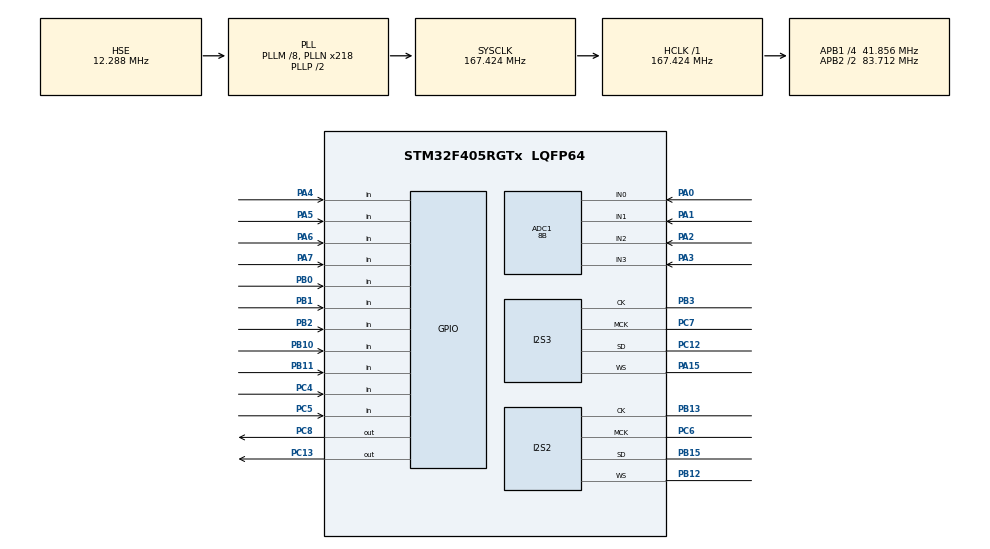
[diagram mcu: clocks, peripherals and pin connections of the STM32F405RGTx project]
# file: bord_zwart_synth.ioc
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ADC1.Channel-0\#ChannelRegularConversion=ADC_CHANNEL_0
ADC1.Channel-1\#ChannelRegularConversion=ADC_CHANNEL_1
ADC1.Channel-2\#ChannelRegularConversion=ADC_CHANNEL_2
ADC1.Channel-3\#ChannelRegularConversion=ADC_CHANNEL_3
ADC1.ContinuousConvMode=ENABLE
ADC1.DMAContinuousRequests=ENABLE
ADC1.EOCSelection=ADC_EOC_SINGLE_CONV
ADC1.NbrOfConversion=4
ADC1.NbrOfConversionFlag=1
ADC1.Rank-0\#ChannelRegularConversion=1
ADC1.Rank-1\#ChannelRegularConversion=2
ADC1.Rank-2\#ChannelRegularConversion=3
ADC1.Rank-3\#ChannelRegularConversion=4
ADC1.Resolution=ADC_RESOLUTION_8B
ADC1.SamplingTime-0\#ChannelRegularConversion=ADC_SAMPLETIME_28CYCLES
ADC1.SamplingTime-1\#ChannelRegularConversion=ADC_SAMPLETIME_28CYCLES
ADC1.SamplingTime-2\#ChannelRegularConversion=ADC_SAMPLETIME_28CYCLES
ADC1.SamplingTime-3\#ChannelRegularConversion=ADC_SAMPLETIME_28CYCLES
ADC1.master=1
Dma.ADC1.1.Direction=DMA_PERIPH_TO_MEMORY
Dma.ADC1.1.FIFOMode=DMA_FIFOMODE_DISABLE
Dma.ADC1.1.Instance=DMA2_Stream0
Dma.ADC1.1.MemDataAlignment=DMA_MDATAALIGN_WORD
Dma.ADC1.1.MemInc=DMA_MINC_ENABLE
Dma.ADC1.1.Mode=DMA_CIRCULAR
Dma.ADC1.1.PeriphDataAlignment=DMA_PDATAALIGN_WORD
Dma.ADC1.1.PeriphInc=DMA_PINC_DISABLE
Dma.ADC1.1.Priority=DMA_PRIORITY_LOW
Dma.Request0=SPI3_TX
Dma.Request1=ADC1
Dma.Request2=SPI2_RX
Dma.SPI2_RX.2.Direction=DMA_PERIPH_TO_MEMORY
Dma.SPI2_RX.2.FIFOMode=DMA_FIFOMODE_DISABLE
Dma.SPI2_RX.2.Instance=DMA1_Stream3
Dma.SPI2_RX.2.MemDataAlignment=DMA_MDATAALIGN_HALFWORD
Dma.SPI2_RX.2.MemInc=DMA_MINC_ENABLE
Dma.SPI2_RX.2.Mode=DMA_CIRCULAR
Dma.SPI2_RX.2.PeriphDataAlignment=DMA_PDATAALIGN_HALFWORD
Dma.SPI2_RX.2.PeriphInc=DMA_PINC_DISABLE
Dma.SPI2_RX.2.Priority=DMA_PRIORITY_VERY_HIGH
Dma.SPI3_TX.0.Direction=DMA_MEMORY_TO_PERIPH
Dma.SPI3_TX.0.FIFOMode=DMA_FIFOMODE_DISABLE
Dma.SPI3_TX.0.Instance=DMA1_Stream5
Dma.SPI3_TX.0.MemDataAlignment=DMA_MDATAALIGN_HALFWORD
Dma.SPI3_TX.0.MemInc=DMA_MINC_ENABLE
Dma.SPI3_TX.0.Mode=DMA_CIRCULAR
Dma.SPI3_TX.0.PeriphDataAlignment=DMA_PDATAALIGN_HALFWORD
Dma.SPI3_TX.0.PeriphInc=DMA_PINC_DISABLE
Dma.SPI3_TX.0.Priority=DMA_PRIORITY_VERY_HIGH
I2S2.AudioFreq=I2S_AUDIOFREQ_48K
I2S2.ErrorAudioFreq=0.0 %
I2S2.FullDuplexMode=I2S_FULLDUPLEXMODE_DISABLE
I2S2.Instance=SPI$Index
I2S2.Mode=I2S_MODE_MASTER_RX
I2S2.RealAudioFreq=48.0 KHz
I2S2.VirtualMode=I2S_MODE_MASTER
I2S3.AudioFreq=I2S_AUDIOFREQ_48K
I2S3.ErrorAudioFreq=0.0 %
I2S3.FullDuplexMode=I2S_FULLDUPLEXMODE_DISABLE
I2S3.Instance=SPI$Index
I2S3.RealAudioFreq=48.0 KHz
I2S3.VirtualMode=I2S_MODE_MASTER
Mcu.Family=STM32F4
Mcu.Name=STM32F405RGTx
Mcu.Package=LQFP64
NVIC.ADC_IRQn=true\:0\:0\:false\:false\:true\:true\:true
NVIC.DMA1_Stream3_IRQn=true\:0\:0\:false\:false\:true\:false\:true
NVIC.DMA1_Stream5_IRQn=true\:0\:0\:false\:false\:true\:false\:true
NVIC.DMA2_Stream0_IRQn=true\:0\:0\:false\:false\:true\:false\:true
NVIC.PriorityGroup=NVIC_PRIORITYGROUP_4
PA0-WKUP.Signal=ADCx_IN0
PA1.Signal=ADCx_IN1
PA13.Mode=Serial_Wire
PA13.Signal=SYS_JTMS-SWDIO
PA14.Mode=Serial_Wire
PA14.Signal=SYS_JTCK-SWCLK
PA15.Mode=Half_Duplex_Master
PA15.Signal=I2S3_WS
PA2.Signal=ADCx_IN2
PA3.Signal=ADCx_IN3
PA4.Signal=GPIO_Input
PA5.Signal=GPIO_Input
PA6.GPIO_PuPd=GPIO_PULLUP
PA6.Signal=GPIO_Input
PA7.GPIO_PuPd=GPIO_PULLUP
PA7.Signal=GPIO_Input
PB0.GPIO_PuPd=GPIO_PULLUP
PB0.Signal=GPIO_Input
PB1.GPIO_PuPd=GPIO_PULLUP
PB1.Signal=GPIO_Input
PB10.GPIO_PuPd=GPIO_PULLUP
PB10.Signal=GPIO_Input
PB11.Signal=GPIO_Input
PB12.Mode=Half_Duplex_Master
PB12.Signal=I2S2_WS
PB13.Mode=Half_Duplex_Master
PB13.Signal=I2S2_CK
PB15.Mode=Half_Duplex_Master
PB15.Signal=I2S2_SD
PB2.GPIO_PuPd=GPIO_PULLUP
PB2.Signal=GPIO_Input
PB3.Mode=Half_Duplex_Master
PB3.Signal=I2S3_CK
PC12.Mode=Half_Duplex_Master
PC12.Signal=I2S3_SD
PC13-ANTI_TAMP.Signal=GPIO_Output
PC4.GPIO_PuPd=GPIO_PULLUP
PC4.Signal=GPIO_Input
PC5.GPIO_PuPd=GPIO_PULLUP
PC5.Signal=GPIO_Input
PC6.Mode=Master_Clock_Activated
PC6.Signal=I2S2_MCK
PC7.Mode=Master_Clock_Activated
PC7.Signal=I2S3_MCK
PC8.Signal=GPIO_Output
PH0-OSC_IN.Mode=HSE-External-Oscillator
PH0-OSC_IN.Signal=RCC_OSC_IN
PH1-OSC_OUT.Mode=HSE-External-Oscillator
PH1-OSC_OUT.Signal=RCC_OSC_OUT
ProjectManager.HeapSize=0x200
ProjectManager.StackSize=0x400
ProjectManager.TargetToolchain=STM32CubeIDE
RCC.48MHZClocksFreq_Value=83712000
RCC.AHBFreq_Value=167424000
RCC.APB1CLKDivider=RCC_HCLK_DIV4
RCC.APB1Freq_Value=41856000
RCC.APB1TimFreq_Value=83712000
RCC.APB2CLKDivider=RCC_HCLK_DIV2
RCC.APB2Freq_Value=83712000
RCC.APB2TimFreq_Value=167424000
RCC.CortexFreq_Value=167424000
RCC.HCLKFreq_Value=167424000
RCC.HSE_VALUE=12288000
RCC.HSI_VALUE=16000000
RCC.LSE_VALUE=32768
RCC.PLLI2SN=128
RCC.PLLM=8
RCC.PLLN=218
RCC.PLLSourceVirtual=RCC_PLLSOURCE_HSE
RCC.SYSCLKFreq_VALUE=167424000
RCC.SYSCLKSource=RCC_SYSCLKSOURCE_PLLCLK
RCC.VCOOutputFreq_Value=334848000
SH.ADCx_IN0.0=ADC1_IN0,IN0
SH.ADCx_IN1.0=ADC1_IN1,IN1
SH.ADCx_IN2.0=ADC1_IN2,IN2
SH.ADCx_IN3.0=ADC1_IN3,IN3
board=custom

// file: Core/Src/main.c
/* USER CODE BEGIN Header */
/**
  ******************************************************************************
  * @file           : main.c
  * @brief          : Main program body
  ******************************************************************************
  * @attention
  *
  * <h2><center>&copy; Copyright (c) 2021 STMicroelectronics.
  * All rights reserved.</center></h2>
  *
  * This software component is licensed by ST under BSD 3-Clause license,
  * the "License"; You may not use this file except in compliance with the
  * License. You may obtain a copy of the License at:
  *                        opensource.org/licenses/BSD-3-Clause
  *
  ******************************************************************************
  */
/* USER CODE END Header */
#include "main.h"

/* USER CODE BEGIN Includes */
#include "arm_math.h"
#include "sample.h"
/* USER CODE END Includes */

/* USER CODE BEGIN PTD */
#define n 16
#define samples 11
/* USER CODE END PTD */

ADC_HandleTypeDef hadc1;
DMA_HandleTypeDef hdma_adc1;

I2S_HandleTypeDef hi2s2;
I2S_HandleTypeDef hi2s3;
DMA_HandleTypeDef hdma_spi2_rx;
DMA_HandleTypeDef hdma_spi3_tx;

/* USER CODE BEGIN PV */
float sampleout[samples][n];
float rekensample[samples/2][n];
float M_out_f32[6][n];
int input = 0;
int change = 0;
int beat_counter = 0;
int numbersofint = 0;
int sample_change_count[samples][8] = {0};
int sample_select = 0;
int samplecounter[samples] = {0};
float volume_samples[samples] = {1};
uint16_t audio_in[4*n];
uint16_t audio_out[4*n];
uint32_t adc_data[4];
uint8_t pot[4];
q15_t audio_r_in[n];
q15_t audio_l_in[n];
q15_t audio_r_out[n];
q15_t audio_l_out[n];
q15_t M_in[n];
q15_t M_out[n];
float* samplearray[samples] = {
		kick_808,
		CH_808,
		snare_808,
		tom_808,
		kick_909,
		CH_909,
		OH_909,
		clap_909,
		tom_909,
		snare_909,
		clav_909
};
float samplelength[samples] = {
		80021,4101,10108,21576,11534,4579,20899,15130,24438,10426,2209
};
/* USER CODE END PV */

void SystemClock_Config(void);
static void MX_GPIO_Init(void);
static void MX_DMA_Init(void);
static void MX_ADC1_Init(void);
static void MX_I2S2_Init(void);
static void MX_I2S3_Init(void);

int main(void)
{

  /* MCU Configuration--------------------------------------------------------*/

  /* Reset of all peripherals, Initializes the Flash interface and the Systick. */
  HAL_Init();

  /* Configure the system clock */
  SystemClock_Config();

  /* Initialize all configured peripherals */
  MX_GPIO_Init();
  MX_DMA_Init();
  MX_ADC1_Init();
  MX_I2S2_Init();
  MX_I2S3_Init();
  /* USER CODE BEGIN 2 */
  HAL_GPIO_WritePin(GPIOC, GPIO_PIN_8, GPIO_PIN_SET);
  HAL_GPIO_TogglePin(GPIOA, GPIO_PIN_6);
  HAL_ADC_Start(&hadc1);
  HAL_ADC_Start_DMA(&hadc1, adc_data, 4);
  HAL_I2S_Receive_DMA(&hi2s2, audio_in, 4*n);
  HAL_I2S_Transmit_DMA(&hi2s3, audio_out, 4*n);
  /* USER CODE END 2 */

  /* Infinite loop */
  while (1)
  {

    /* USER CODE BEGIN 3 */
	  input = HAL_GPIO_ReadPin(GPIOB, GPIO_PIN_2);
	 	  if (input != change) {
	 		 HAL_GPIO_TogglePin(GPIOC, GPIO_PIN_13);
	 		  change = input;
	 		  for (int j = 0; j < samples; ++j) {
	 		  for (int i = 0; i < 8; ++i) {
				sample_change_count[j][i] = 0;
	 		  }
	 		 }
	 	  }
	sample_select = pot[3]/24;
	if (HAL_GPIO_ReadPin(GPIOC, GPIO_PIN_4) == 1) {
		sample_change_count[sample_select][0] = 1 - sample_change_count[sample_select][0];
		HAL_Delay(250);
	}
	if (HAL_GPIO_ReadPin(GPIOB, GPIO_PIN_0) == 1) {
		sample_change_count[sample_select][1] = 1 - sample_change_count[sample_select][0];
		HAL_Delay(250);
	}
	if (HAL_GPIO_ReadPin(GPIOA, GPIO_PIN_7) == 1) {
		sample_change_count[sample_select][2] = 1 - sample_change_count[sample_select][0];
		HAL_Delay(250);
	}
	if (HAL_GPIO_ReadPin(GPIOA, GPIO_PIN_4) == 1) {
		sample_change_count[sample_select][3] = 1 - sample_change_count[sample_select][0];
		HAL_Delay(250);
	}
	if (HAL_GPIO_ReadPin(GPIOA, GPIO_PIN_5) == 1) {
		sample_change_count[sample_select][4] = 1 - sample_change_count[sample_select][0];
		HAL_Delay(250);
	}
	if (HAL_GPIO_ReadPin(GPIOC, GPIO_PIN_5) == 1) {
		sample_change_count[sample_select][5] = 1 - sample_change_count[sample_select][0];
		HAL_Delay(250);
	}
	if (HAL_GPIO_ReadPin(GPIOB, GPIO_PIN_1) == 1) {
		sample_change_count[sample_select][6] = 1 - sample_change_count[sample_select][0];
		HAL_Delay(250);
	}
	if (HAL_GPIO_ReadPin(GPIOA, GPIO_PIN_6) == 1) {
		sample_change_count[sample_select][7] = 1 - sample_change_count[sample_select][0];
		HAL_Delay(250);
	}
	 HAL_Delay(10);
  }
  /* USER CODE END 3 */
}

void SystemClock_Config(void)
{
  RCC_OscInitTypeDef RCC_OscInitStruct = {0};
  RCC_ClkInitTypeDef RCC_ClkInitStruct = {0};
  RCC_PeriphCLKInitTypeDef PeriphClkInitStruct = {0};

  /** Configure the main internal regulator output voltage
  */
  __HAL_RCC_PWR_CLK_ENABLE();
  __HAL_PWR_VOLTAGESCALING_CONFIG(PWR_REGULATOR_VOLTAGE_SCALE1);
  /** Initializes the RCC Oscillators according to the specified parameters
  * in the RCC_OscInitTypeDef structure.
  */
  RCC_OscInitStruct.OscillatorType = RCC_OSCILLATORTYPE_HSE;
  RCC_OscInitStruct.HSEState = RCC_HSE_ON;
  RCC_OscInitStruct.PLL.PLLState = RCC_PLL_ON;
  RCC_OscInitStruct.PLL.PLLSource = RCC_PLLSOURCE_HSE;
  RCC_OscInitStruct.PLL.PLLM = 8;
  RCC_OscInitStruct.PLL.PLLN = 218;
  RCC_OscInitStruct.PLL.PLLP = RCC_PLLP_DIV2;
  RCC_OscInitStruct.PLL.PLLQ = 4;
  if (HAL_RCC_OscConfig(&RCC_OscInitStruct) != HAL_OK)
  {
    Error_Handler();
  }
  /** Initializes the CPU, AHB and APB buses clocks
  */
  RCC_ClkInitStruct.ClockType = RCC_CLOCKTYPE_HCLK|RCC_CLOCKTYPE_SYSCLK
                              |RCC_CLOCKTYPE_PCLK1|RCC_CLOCKTYPE_PCLK2;
  RCC_ClkInitStruct.SYSCLKSource = RCC_SYSCLKSOURCE_PLLCLK;
  RCC_ClkInitStruct.AHBCLKDivider = RCC_SYSCLK_DIV1;
  RCC_ClkInitStruct.APB1CLKDivider = RCC_HCLK_DIV4;
  RCC_ClkInitStruct.APB2CLKDivider = RCC_HCLK_DIV2;

  if (HAL_RCC_ClockConfig(&RCC_ClkInitStruct, FLASH_LATENCY_5) != HAL_OK)
  {
    Error_Handler();
  }
  PeriphClkInitStruct.PeriphClockSelection = RCC_PERIPHCLK_I2S;
  PeriphClkInitStruct.PLLI2S.PLLI2SN = 128;
  PeriphClkInitStruct.PLLI2S.PLLI2SR = 2;
  if (HAL_RCCEx_PeriphCLKConfig(&PeriphClkInitStruct) != HAL_OK)
  {
    Error_Handler();
  }
}

static void MX_ADC1_Init(void)
{

  ADC_ChannelConfTypeDef sConfig = {0};

  /** Configure the global features of the ADC (Clock, Resolution, Data Alignment and number of conversion)
  */
  hadc1.Instance = ADC1;
  hadc1.Init.ClockPrescaler = ADC_CLOCK_SYNC_PCLK_DIV4;
  hadc1.Init.Resolution = ADC_RESOLUTION_8B;
  hadc1.Init.ScanConvMode = ENABLE;
  hadc1.Init.ContinuousConvMode = ENABLE;
  hadc1.Init.DiscontinuousConvMode = DISABLE;
  hadc1.Init.ExternalTrigConvEdge = ADC_EXTERNALTRIGCONVEDGE_NONE;
  hadc1.Init.ExternalTrigConv = ADC_SOFTWARE_START;
  hadc1.Init.DataAlign = ADC_DATAALIGN_RIGHT;
  hadc1.Init.NbrOfConversion = 4;
  hadc1.Init.DMAContinuousRequests = ENABLE;
  hadc1.Init.EOCSelection = ADC_EOC_SINGLE_CONV;
  if (HAL_ADC_Init(&hadc1) != HAL_OK)
  {
    Error_Handler();
  }
  /** Configure for the selected ADC regular channel its corresponding rank in the sequencer and its sample time.
  */
  sConfig.Channel = ADC_CHANNEL_0;
  sConfig.Rank = 1;
  sConfig.SamplingTime = ADC_SAMPLETIME_28CYCLES;
  if (HAL_ADC_ConfigChannel(&hadc1, &sConfig) != HAL_OK)
  {
    Error_Handler();
  }
  /** Configure for the selected ADC regular channel its corresponding rank in the sequencer and its sample time.
  */
  sConfig.Channel = ADC_CHANNEL_1;
  sConfig.Rank = 2;
  if (HAL_ADC_ConfigChannel(&hadc1, &sConfig) != HAL_OK)
  {
    Error_Handler();
  }
  /** Configure for the selected ADC regular channel its corresponding rank in the sequencer and its sample time.
  */
  sConfig.Channel = ADC_CHANNEL_2;
  sConfig.Rank = 3;
  if (HAL_ADC_ConfigChannel(&hadc1, &sConfig) != HAL_OK)
  {
    Error_Handler();
  }
  /** Configure for the selected ADC regular channel its corresponding rank in the sequencer and its sample time.
  */
  sConfig.Channel = ADC_CHANNEL_3;
  sConfig.Rank = 4;
  if (HAL_ADC_ConfigChannel(&hadc1, &sConfig) != HAL_OK)
  {
    Error_Handler();
  }

}

static void MX_I2S2_Init(void)
{

  hi2s2.Instance = SPI2;
  hi2s2.Init.Mode = I2S_MODE_MASTER_RX;
  hi2s2.Init.Standard = I2S_STANDARD_PHILIPS;
  hi2s2.Init.DataFormat = I2S_DATAFORMAT_16B;
  hi2s2.Init.MCLKOutput = I2S_MCLKOUTPUT_ENABLE;
  hi2s2.Init.AudioFreq = I2S_AUDIOFREQ_48K;
  hi2s2.Init.CPOL = I2S_CPOL_LOW;
  hi2s2.Init.ClockSource = I2S_CLOCK_PLL;
  hi2s2.Init.FullDuplexMode = I2S_FULLDUPLEXMODE_DISABLE;
  if (HAL_I2S_Init(&hi2s2) != HAL_OK)
  {
    Error_Handler();
  }

}

static void MX_I2S3_Init(void)
{

  hi2s3.Instance = SPI3;
  hi2s3.Init.Mode = I2S_MODE_MASTER_TX;
  hi2s3.Init.Standard = I2S_STANDARD_PHILIPS;
  hi2s3.Init.DataFormat = I2S_DATAFORMAT_16B;
  hi2s3.Init.MCLKOutput = I2S_MCLKOUTPUT_ENABLE;
  hi2s3.Init.AudioFreq = I2S_AUDIOFREQ_48K;
  hi2s3.Init.CPOL = I2S_CPOL_LOW;
  hi2s3.Init.ClockSource = I2S_CLOCK_PLL;
  hi2s3.Init.FullDuplexMode = I2S_FULLDUPLEXMODE_DISABLE;
  if (HAL_I2S_Init(&hi2s3) != HAL_OK)
  {
    Error_Handler();
  }

}

static void MX_DMA_Init(void)
{

  /* DMA controller clock enable */
  __HAL_RCC_DMA1_CLK_ENABLE();
  __HAL_RCC_DMA2_CLK_ENABLE();

  /* DMA interrupt init */
  /* DMA1_Stream3_IRQn interrupt configuration */
  HAL_NVIC_SetPriority(DMA1_Stream3_IRQn, 0, 0);
  HAL_NVIC_EnableIRQ(DMA1_Stream3_IRQn);
  /* DMA1_Stream5_IRQn interrupt configuration */
  HAL_NVIC_SetPriority(DMA1_Stream5_IRQn, 0, 0);
  HAL_NVIC_EnableIRQ(DMA1_Stream5_IRQn);
  /* DMA2_Stream0_IRQn interrupt configuration */
  HAL_NVIC_SetPriority(DMA2_Stream0_IRQn, 0, 0);
  HAL_NVIC_EnableIRQ(DMA2_Stream0_IRQn);

}

static void MX_GPIO_Init(void)
{
  GPIO_InitTypeDef GPIO_InitStruct = {0};

  /* GPIO Ports Clock Enable */
  __HAL_RCC_GPIOC_CLK_ENABLE();
  __HAL_RCC_GPIOH_CLK_ENABLE();
  __HAL_RCC_GPIOA_CLK_ENABLE();
  __HAL_RCC_GPIOB_CLK_ENABLE();

  /*Configure GPIO pin Output Level */
  HAL_GPIO_WritePin(GPIOC, GPIO_PIN_13|GPIO_PIN_8, GPIO_PIN_RESET);

  /*Configure GPIO pins : PC13 PC8 */
  GPIO_InitStruct.Pin = GPIO_PIN_13|GPIO_PIN_8;
  GPIO_InitStruct.Mode = GPIO_MODE_OUTPUT_PP;
  GPIO_InitStruct.Pull = GPIO_NOPULL;
  GPIO_InitStruct.Speed = GPIO_SPEED_FREQ_LOW;
  HAL_GPIO_Init(GPIOC, &GPIO_InitStruct);

  /*Configure GPIO pins : PA4 PA5 */
  GPIO_InitStruct.Pin = GPIO_PIN_4|GPIO_PIN_5;
  GPIO_InitStruct.Mode = GPIO_MODE_INPUT;
  GPIO_InitStruct.Pull = GPIO_PULLDOWN;
  HAL_GPIO_Init(GPIOA, &GPIO_InitStruct);

  /*Configure GPIO pins : PA6 PA7 */
  GPIO_InitStruct.Pin = GPIO_PIN_6|GPIO_PIN_7;
  GPIO_InitStruct.Mode = GPIO_MODE_INPUT;
  GPIO_InitStruct.Pull = GPIO_PULLDOWN;
  HAL_GPIO_Init(GPIOA, &GPIO_InitStruct);

  /*Configure GPIO pins : PC4 PC5 */
  GPIO_InitStruct.Pin = GPIO_PIN_4|GPIO_PIN_5;
  GPIO_InitStruct.Mode = GPIO_MODE_INPUT;
  GPIO_InitStruct.Pull = GPIO_PULLDOWN;
  HAL_GPIO_Init(GPIOC, &GPIO_InitStruct);

  /*Configure GPIO pins : PB0 PB1 PB2 PB10 */
  GPIO_InitStruct.Pin = GPIO_PIN_0|GPIO_PIN_1|GPIO_PIN_2|GPIO_PIN_10;
  GPIO_InitStruct.Mode = GPIO_MODE_INPUT;
  GPIO_InitStruct.Pull = GPIO_PULLDOWN;
  HAL_GPIO_Init(GPIOB, &GPIO_InitStruct);

  /*Configure GPIO pin : PB11 */
  GPIO_InitStruct.Pin = GPIO_PIN_11;
  GPIO_InitStruct.Mode = GPIO_MODE_INPUT;
  GPIO_InitStruct.Pull = GPIO_NOPULL;
  HAL_GPIO_Init(GPIOB, &GPIO_InitStruct);

}

/* USER CODE BEGIN 4 */
void do_processing(q15_t* audio_l_in, q15_t* audio_r_in, q15_t* audio_l_out, q15_t* audio_r_out)
{
	for (int k = 0; k < samples; ++k) {

	for (int i = 0; i < n; ++i) {
		if (samplecounter[k] > pot[2]*480) {
			samplecounter[k] = 0;
			if (k == samples -1) {
				if (beat_counter == 7) {
					beat_counter = 0;
				}
				else {
					beat_counter += 1;
				}
			}
		}

		else if (sample_change_count[k][beat_counter] == 0){
			sampleout[k][i] = 0;
			samplecounter[k] += 1;
		}
		else if (samplecounter[k] > samplelength[k]) {
			sampleout[k][i] = 0;
			samplecounter[k] += 1;
		}

		else {
			sampleout[k][i] = samplearray[k][samplecounter[k]];
			samplecounter[k] += 1;
		}
	}
	}
	volume_samples[sample_select] = pot[0]/100 + 1 ;
	for (int i = 0; i < samples; ++i) {
		arm_scale_f32(sampleout[i], volume_samples[i], sampleout[i], n);
	}
	arm_add_f32(sampleout[0], sampleout[1], rekensample[0], n);
	arm_add_f32(sampleout[2], sampleout[3], rekensample[1], n);
	arm_add_f32(sampleout[4], sampleout[5], rekensample[2], n);
	arm_add_f32(sampleout[6], sampleout[7], rekensample[3], n);
	arm_add_f32(sampleout[8], sampleout[9], rekensample[4], n);
	arm_add_f32(sampleout[10], sampleout[10], rekensample[5], n);
	arm_add_f32(rekensample[0], rekensample[1], M_out_f32[0], n);
	arm_add_f32(rekensample[2], rekensample[3], M_out_f32[1], n);
	arm_add_f32(rekensample[4], rekensample[5], M_out_f32[2], n);
	arm_add_f32(M_out_f32[0], M_out_f32[1], M_out_f32[3], n);
	arm_add_f32(M_out_f32[2], M_out_f32[2], M_out_f32[4], n);
	arm_add_f32(M_out_f32[4], M_out_f32[3], M_out_f32[5], n);
	arm_float_to_q15(M_out_f32[5], M_out, n);
	arm_scale_q15(M_out, pot[1]*4-1, 1, M_out, n);

	arm_copy_q15(M_out, audio_l_out, n);
	arm_copy_q15(M_out, audio_r_out, n);
}

void HAL_I2S_RxHalfCpltCallback(I2S_HandleTypeDef *hi2s)
{
 /* Prevent unused argument(s) compilation warning */
	for (int i = 0; i < n; ++i) {
		audio_l_in[i] = audio_in[i*2];
		audio_r_in[i] = audio_in[i*2+1];
	}
	do_processing(audio_l_in, audio_r_in, audio_l_out, audio_r_out);
	for (int i = 0; i < n; ++i) {
		audio_out[2*i]   = audio_l_out[i];
		audio_out[2*i+1] = audio_r_out[i];
	}
	//for (int i = 0; i < n; ++i) {
	//	audio_out[i] = audio_in[i];
	//}
 /* NOTE : This function Should not be modified, when the callback is needed,
           the HAL_I2S_RxHalfCpltCallback could be implemented in the user file
  */
}
void HAL_I2S_RxCpltCallback(I2S_HandleTypeDef *hi2s)
{
  /* Prevent unused argument(s) compilation warning */
	//for (int i = n; i < 2*n; ++i) {
	//	audio_out[i] = audio_in[i];
	//}

	for (int i = 0; i < n; ++i) {
		audio_l_in[i] = audio_in[2*i+2*n];
		audio_r_in[i] = audio_in[2*i+2*n+1];
	}
	//processing audio
	//einde processing
	do_processing(audio_l_in, audio_r_in, audio_l_out, audio_r_out);
	//van array naar buffer
	for (int i = 0; i < n; ++i) {
		audio_out[2*i+2*n]   = audio_l_out[i];
		audio_out[2*i+2*n+1] = audio_r_out[i];
	}
  /* NOTE : This function Should not be modified, when the callback is needed,
            the HAL_I2S_RxCpltCallback could be implemented in the user file
   */
}
void HAL_ADC_ConvCpltCallback(ADC_HandleTypeDef* hadc){

		pot[1] = adc_data[0];
		pot[0] = adc_data[1];
		pot[2] = adc_data[2];
		pot[3] = adc_data[3];

}
/* USER CODE END 4 */

void Error_Handler(void)
{
  __disable_irq();
  while (1)
  {
  }
}

/************************ (C) COPYRIGHT STMicroelectronics *****END OF FILE****/
